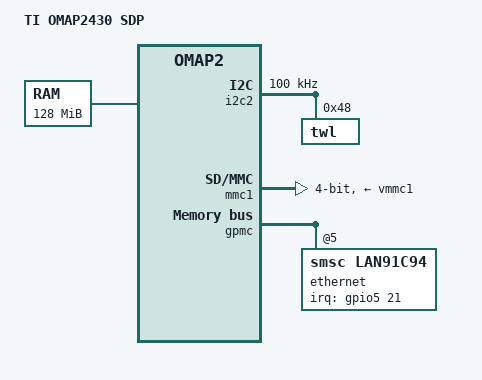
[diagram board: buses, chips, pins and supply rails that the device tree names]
// SPDX-License-Identifier: GPL-2.0-only
/*
 * Copyright (C) 2013 Texas Instruments Incorporated - https://www.ti.com/
 */
/dts-v1/;

#include "omap2430.dtsi"

/ {
	model = "TI OMAP2430 SDP";
	compatible = "ti,omap2430-sdp", "ti,omap2430", "ti,omap2";

	memory@80000000 {
		device_type = "memory";
		reg = <0x80000000 0x8000000>; /* 128 MB */
	};
};

&i2c2 {
	clock-frequency = <100000>;

	twl: twl@48 {
		reg = <0x48>;
		interrupts = <7>; /* SYS_NIRQ cascaded to intc */
	};
};

#include "twl4030.dtsi"

&mmc1 {
	vmmc-supply = <&vmmc1>;
	bus-width = <4>;
};

&gpmc {
	ranges = <5 0 0x08000000 0x01000000>;
	ethernet@gpmc {
		compatible = "smsc,lan91c94";
		interrupt-parent = <&gpio5>;
		interrupts = <21 IRQ_TYPE_LEVEL_LOW>;	/* gpio149 */
		reg = <5 0x300 0xf>;
		bank-width = <2>;
		gpmc,sync-clk-ps = <0>;
		gpmc,mux-add-data = <2>;
		gpmc,device-width = <1>;
		gpmc,cycle2cycle-samecsen;
		gpmc,cycle2cycle-diffcsen;
		gpmc,cs-on-ns = <6>;
		gpmc,cs-rd-off-ns = <187>;
		gpmc,cs-wr-off-ns = <187>;
		gpmc,adv-on-ns = <18>;
		gpmc,adv-rd-off-ns = <48>;
		gpmc,adv-wr-off-ns = <48>;
		gpmc,oe-on-ns = <60>;
		gpmc,oe-off-ns = <169>;
		gpmc,we-on-ns = <66>;
		gpmc,we-off-ns = <169>;
		gpmc,rd-cycle-ns = <187>;
		gpmc,wr-cycle-ns = <187>;
		gpmc,access-ns = <187>;
		gpmc,page-burst-access-ns = <24>;
		gpmc,bus-turnaround-ns = <24>;
		gpmc,cycle2cycle-delay-ns = <24>;
		gpmc,wait-monitoring-ns = <0>;
		gpmc,clk-activation-ns = <0>;
		gpmc,wr-data-mux-bus-ns = <0>;
		gpmc,wr-access-ns = <0>;
	};
};

